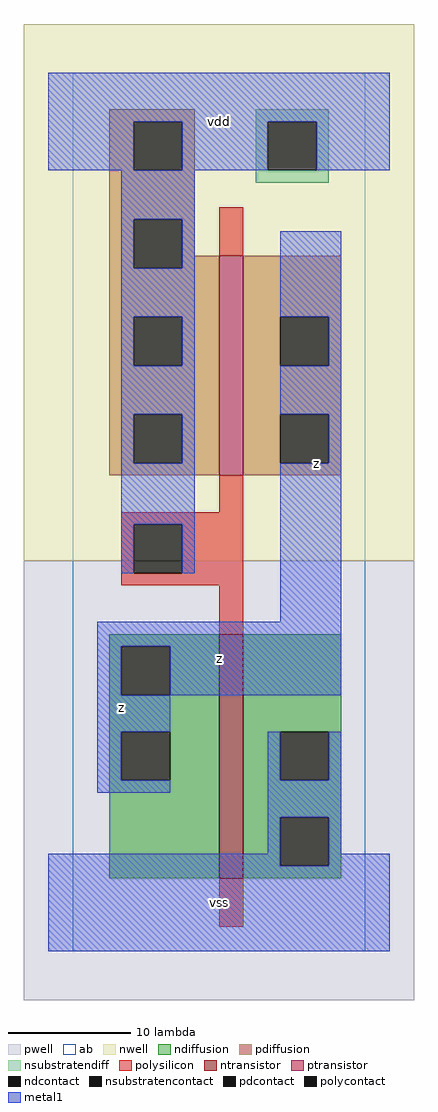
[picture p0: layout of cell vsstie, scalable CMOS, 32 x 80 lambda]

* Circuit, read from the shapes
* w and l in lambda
.subckt vsstie vdd vss z
M1 vss vdd z VSUBS nfet w=20 l=2
M2 z vdd vdd vdd pfet w=18 l=2
.ends

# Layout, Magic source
magic
tech scmos
<< ab >>
rect 0 0 24 72
<< pwell >>
rect -4 -4 28 32
<< nwell >>
rect -4 32 28 76
<< polysilicon >>
rect 12 57 14 61
rect 12 36 14 39
rect 4 35 14 36
rect 4 31 5 35
rect 9 31 14 35
rect 4 30 14 31
rect 12 26 14 30
rect 12 2 14 6
<< ndiffusion >>
rect 3 25 12 26
rect 3 21 4 25
rect 8 21 12 25
rect 3 18 12 21
rect 3 14 4 18
rect 8 14 12 18
rect 3 6 12 14
rect 14 18 22 26
rect 14 14 17 18
rect 21 14 22 18
rect 14 11 22 14
rect 14 7 17 11
rect 21 7 22 11
rect 14 6 22 7
<< pdiffusion >>
rect 3 68 10 69
rect 3 64 5 68
rect 9 64 10 68
rect 3 60 10 64
rect 3 56 5 60
rect 9 57 10 60
rect 9 56 12 57
rect 3 52 12 56
rect 3 48 5 52
rect 9 48 12 52
rect 3 44 12 48
rect 3 40 5 44
rect 9 40 12 44
rect 3 39 12 40
rect 14 52 22 57
rect 14 48 17 52
rect 21 48 22 52
rect 14 44 22 48
rect 14 40 17 44
rect 21 40 22 44
rect 14 39 22 40
<< metal1 >>
rect -2 68 26 72
rect -2 64 5 68
rect 9 64 16 68
rect 20 64 26 68
rect 4 60 10 64
rect 4 56 5 60
rect 9 56 10 60
rect 4 52 10 56
rect 4 48 5 52
rect 9 48 10 52
rect 4 44 10 48
rect 4 40 5 44
rect 9 40 10 44
rect 4 35 10 40
rect 4 31 5 35
rect 9 31 10 35
rect 17 52 22 59
rect 21 48 22 52
rect 17 44 22 48
rect 21 40 22 44
rect 17 27 22 40
rect 2 25 22 27
rect 2 21 4 25
rect 8 21 22 25
rect 2 18 8 21
rect 2 14 4 18
rect 2 13 8 14
rect 16 14 17 18
rect 21 14 22 18
rect 16 11 22 14
rect 16 8 17 11
rect -2 7 17 8
rect 21 8 22 11
rect 21 7 26 8
rect -2 0 26 7
<< ntransistor >>
rect 12 6 14 26
<< ptransistor >>
rect 12 39 14 57
<< polycontact >>
rect 5 31 9 35
<< ndcontact >>
rect 4 21 8 25
rect 4 14 8 18
rect 17 14 21 18
rect 17 7 21 11
<< pdcontact >>
rect 5 64 9 68
rect 5 56 9 60
rect 5 48 9 52
rect 5 40 9 44
rect 17 48 21 52
rect 17 40 21 44
<< nsubstratencontact >>
rect 16 64 20 68
<< nsubstratendiff >>
rect 15 68 21 69
rect 15 64 16 68
rect 20 64 21 68
rect 15 63 21 64
<< labels >>
rlabel metal1 4 20 4 20 6 z
rlabel metal1 12 4 12 4 6 vss
rlabel metal1 12 24 12 24 6 z
rlabel metal1 12 68 12 68 6 vdd
rlabel metal1 20 40 20 40 6 z
<< end >>
